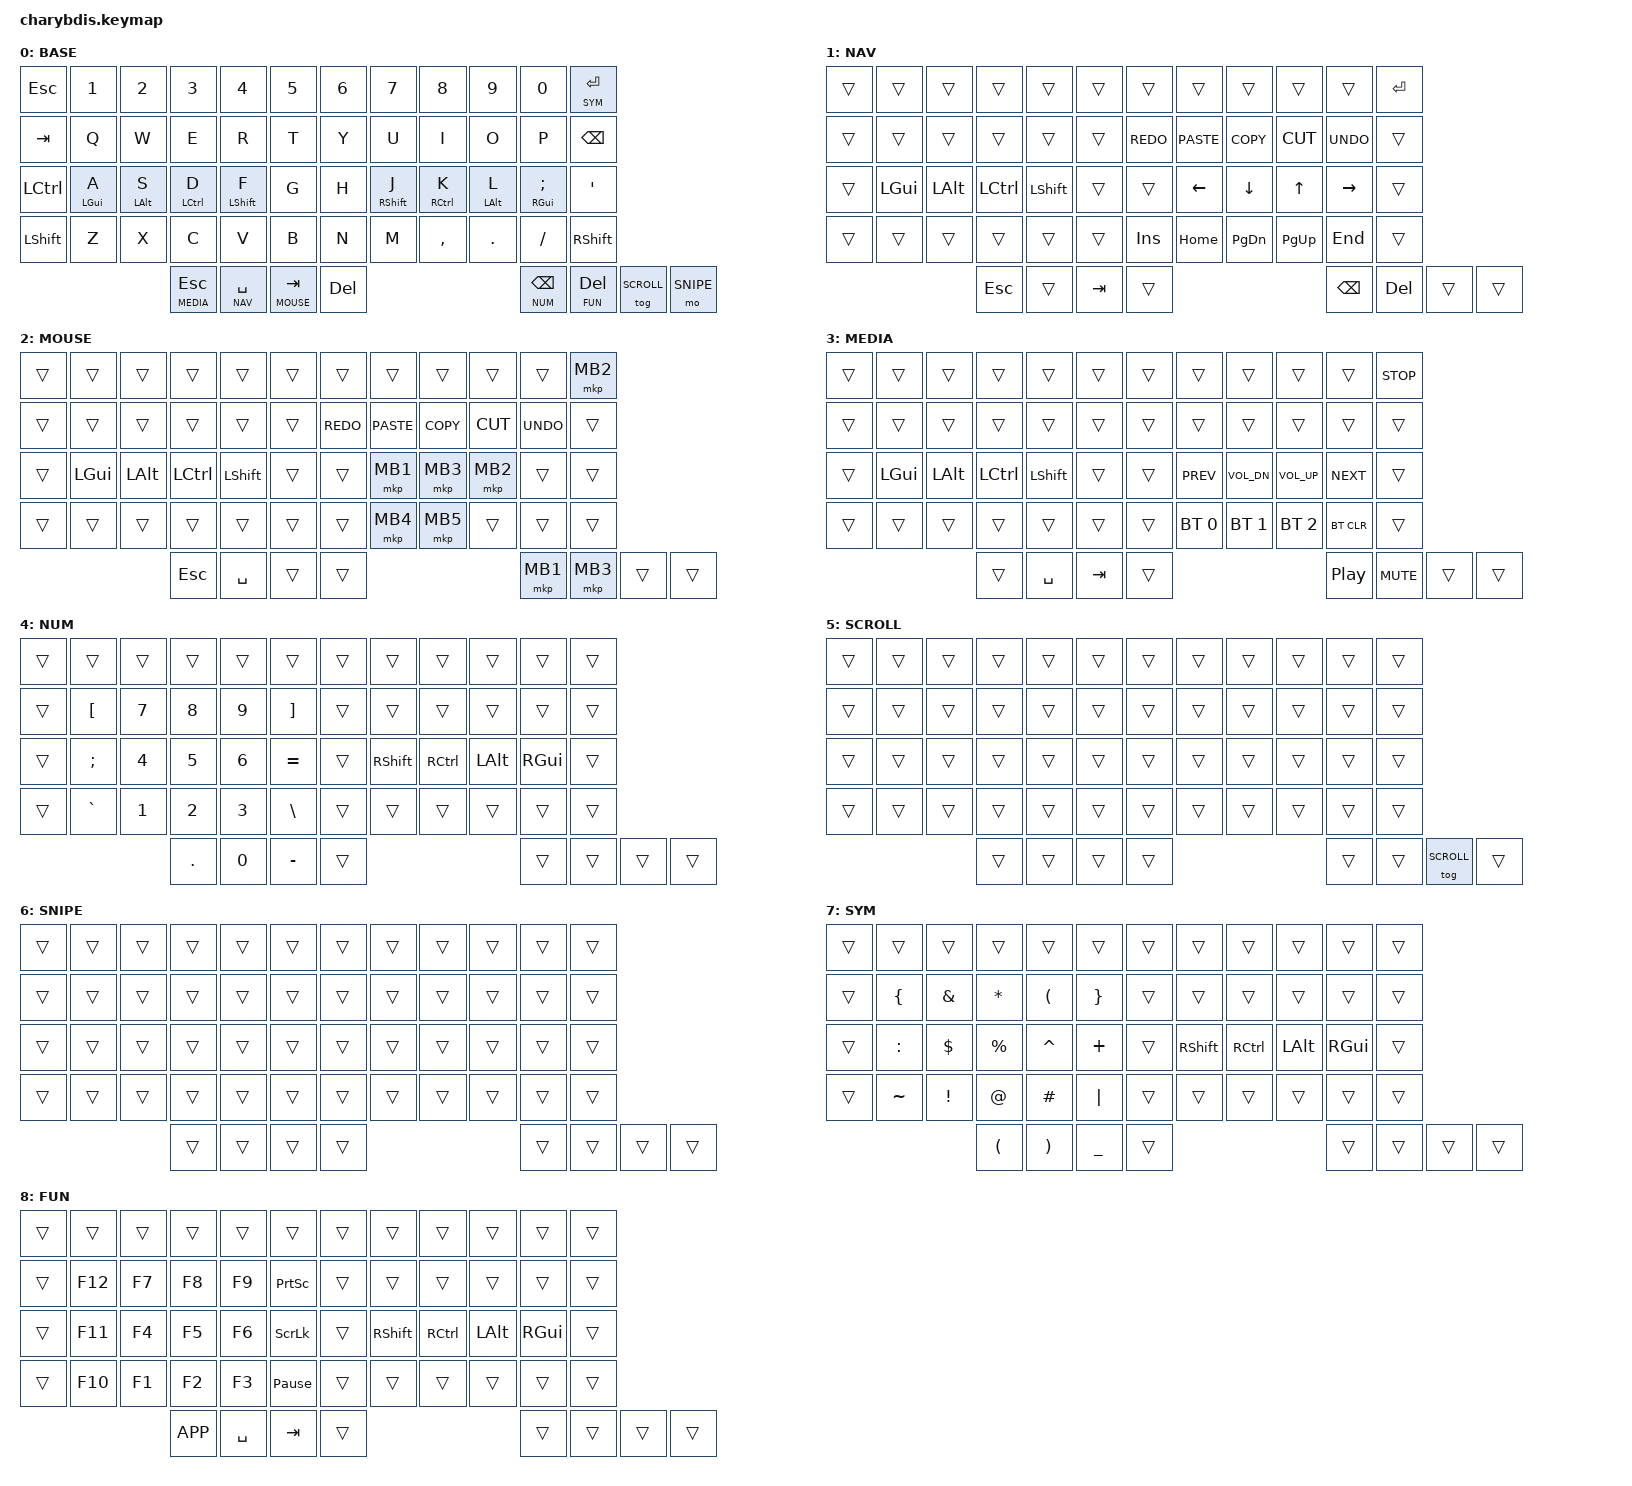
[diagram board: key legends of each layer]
// ============================================================
//  Charybdis 4×6 · Miryoku QWERTY · ZMK
//  GACS home-row mods · 9 layers · trackball scroll/snipe
//
//  KEY POSITIONS  (left rows 0-3 cols 0-5, right rows 0-3 cols 6-11)
//  Row 0:  0  1  2  3  4  5  |  6  7  8  9 10 11
//  Row 1: 12 13 14 15 16 17  | 18 19 20 21 22 23
//  Row 2: 24 25 26 27 28 29  | 30 31 32 33 34 35
//  Row 3: 36 37 38 39 40 41  | 42 43 44 45 46 47
//  L-thumb: 48 49 50          R-thumb: 51 52 53 54 55
//
//  Thumb assignments:
//   L48=Esc/MEDIA  L49=Spc/NAV   L50=Tab/MOUSE  L53=Del/FUN  L54=SCROLL
//   R51=Del        R52=Bsp/NUM   R55=SNIPE
//
//  NOTE: Ent/SYM moved from R51 to R11 (top-right main grid)
//        R51 solder joint is faulty — DEL placed there as a harmless fallback
//
//  Home row (GACS):
//   A25=LGUI  S26=LALT  D27=LCTRL  F28=LSHFT
//   J31=RSHFT K32=RCTRL L33=LALT   ;34=RGUI
// ============================================================

#include <dt-bindings/zmk/mouse.h>
#include <behaviors/mouse_keys.dtsi>
#include <behaviors.dtsi>
#include <dt-bindings/zmk/keys.h>
#include <dt-bindings/zmk/bt.h>

// Layer indices — SCROLL/SNIPE kept at 5/6 to match original firmware
#define BASE   0
#define NAV    1
#define MOUSE  2
#define MEDIA  3
#define NUM    4
#define SCROLL 5
#define SNIPE  6
#define SYM    7
#define FUN    8

/ {

    behaviors {

        // Left-hand home-row mod — only activates when right-hand keys are typed
        hml: hml {
            compatible = "zmk,behavior-hold-tap";
            #binding-cells = <2>;
            flavor = "balanced";
            tapping-term-ms = <280>;
            quick-tap-ms = <175>;
            require-prior-idle-ms = <150>;
            hold-trigger-key-positions = <
                 6  7  8  9 10 11
                18 19 20 21 22 23
                30 31 32 33 34 35
                42 43 44 45 46 47
                51 52 53 54 55
            >;
            hold-trigger-on-release;
            bindings = <&kp>, <&kp>;
        };

        // Right-hand home-row mod — only activates when left-hand keys are typed
        hmr: hmr {
            compatible = "zmk,behavior-hold-tap";
            #binding-cells = <2>;
            flavor = "balanced";
            tapping-term-ms = <280>;
            quick-tap-ms = <175>;
            require-prior-idle-ms = <150>;
            hold-trigger-key-positions = <
                 0  1  2  3  4  5
                12 13 14 15 16 17
                24 25 26 27 28 29
                36 37 38 39 40 41
                48 49 50
            >;
            hold-trigger-on-release;
            bindings = <&kp>, <&kp>;
        };

    };

    combos {
        compatible = "zmk,combos";
        // ZMK Studio unlock: top-right key (R11/ENT) + right-thumb BSP + SNIPE
        // (R51 excluded — bad solder joint)
        combo_studio_unlock {
            timeout-ms = <50>;
            key-positions = <11 52 55>;
            bindings = <&studio_unlock>;
        };
    };

    keymap {
        compatible = "zmk,keymap";

        // ── 0 · BASE ──────────────────────────────────────────────────────────
        base_layer {
            label = "BASE";
            bindings = <
// ╭──────────┬────────┬────────┬────────┬────────┬────────╮   ╭────────┬────────┬────────┬────────┬────────┬──────────╮
//  ESC        1        2        3        4        5             6        7        8        9        0        ENT/SYM
    &kp ESC    &kp N1   &kp N2   &kp N3   &kp N4   &kp N5       &kp N6   &kp N7   &kp N8   &kp N9   &kp N0   &lt SYM RET
// ├──────────┼────────┼────────┼────────┼────────┼────────┤   ├────────┼────────┼────────┼────────┼────────┼──────────┤
//  TAB        Q        W        E        R        T             Y        U        I        O        P        BSPC
    &kp TAB    &kp Q    &kp W    &kp E    &kp R    &kp T        &kp Y    &kp U    &kp I    &kp O    &kp P    &kp BSPC
// ├──────────┼────────┼────────┼────────┼────────┼────────┤   ├────────┼────────┼────────┼────────┼────────┼──────────┤
//  LCTRL    A/LGUI  S/LALT  D/LCTRL  F/LSHFT    G             H      J/RSHFT K/RCTRL  L/LALT  ;/RGUI      '
    &kp LCTRL  &hml LGUI A  &hml LALT S  &hml LCTRL D  &hml LSHFT F  &kp G    &kp H   &hmr RSHFT J  &hmr RCTRL K  &hmr LALT L  &hmr RGUI SEMI  &kp SQT
// ├──────────┼────────┼────────┼────────┼────────┼────────┤   ├────────┼────────┼────────┼────────┼────────┼──────────┤
//  LSHFT      Z        X        C        V        B             N        M        ,        .        /        RSHFT
    &kp LSHFT  &kp Z    &kp X    &kp C    &kp V    &kp B        &kp N    &kp M    &kp COMMA &kp DOT  &kp FSLH &kp RSHFT
// ╰──────────┴────────┴────────┼────────┼────────┼────────╯   ╰────────┼────────┼────────┼────────┼────────┼──────────╯
//                             ESC/MED  SPC/NAV  TAB/MSE        DEL    BSP/NUM  DEL/FUN  SCROLL   SNIPE
                               &lt MEDIA ESC  &lt NAV SPC  &lt MOUSE TAB    &kp DEL  &lt NUM BSPC  &lt FUN DEL  &tog SCROLL  &mo SNIPE
//                             ╰────────┴────────┴────────╯   ╰────────┴────────┴────────┴────────┴──────────╯
            >;
        };

        // ── 1 · NAV ───────────────────────────────────────────────────────────
        nav_layer {
            label = "NAV";
            bindings = <
    &trans     &trans     &trans     &trans     &trans     &trans       &trans     &trans     &trans     &trans     &trans     &kp RET
    &trans     &trans     &trans     &trans     &trans     &trans       &kp K_REDO &kp K_PASTE &kp K_COPY &kp K_CUT  &kp K_UNDO &trans
    &trans     &kp LGUI   &kp LALT   &kp LCTRL  &kp LSHFT  &trans       &trans     &kp LEFT   &kp DOWN   &kp UP     &kp RIGHT  &trans
    &trans     &trans     &trans     &trans     &trans     &trans       &kp INS    &kp HOME   &kp PG_DN  &kp PG_UP  &kp END    &trans
                          &kp ESC    &trans     &kp TAB                 &trans     &kp BSPC   &kp DEL    &trans     &trans
            >;
        };

        // ── 2 · MOUSE ─────────────────────────────────────────────────────────
        mouse_layer {
            label = "MOUSE";
            bindings = <
    &trans     &trans     &trans     &trans     &trans     &trans       &trans     &trans     &trans     &trans     &trans     &mkp MB2
    &trans     &trans     &trans     &trans     &trans     &trans       &kp K_REDO &kp K_PASTE &kp K_COPY &kp K_CUT  &kp K_UNDO &trans
    &trans     &kp LGUI   &kp LALT   &kp LCTRL  &kp LSHFT  &trans       &trans     &mkp MB1   &mkp MB3   &mkp MB2   &trans     &trans
    &trans     &trans     &trans     &trans     &trans     &trans       &trans     &mkp MB4   &mkp MB5   &trans     &trans     &trans
                          &kp ESC    &kp SPC    &trans                  &trans     &mkp MB1   &mkp MB3   &trans     &trans
            >;
        };

        // ── 3 · MEDIA ─────────────────────────────────────────────────────────
        media_layer {
            label = "MEDIA";
            bindings = <
    &trans     &trans     &trans     &trans     &trans     &trans       &trans        &trans          &trans          &trans          &trans          &kp C_STOP
    &trans     &trans     &trans     &trans     &trans     &trans       &trans        &trans          &trans          &trans          &trans          &trans
    &trans     &kp LGUI   &kp LALT   &kp LCTRL  &kp LSHFT  &trans       &trans        &kp C_PREV      &kp C_VOL_DN    &kp C_VOL_UP    &kp C_NEXT      &trans
    &trans     &trans     &trans     &trans     &trans     &trans       &trans        &bt BT_SEL 0    &bt BT_SEL 1    &bt BT_SEL 2    &bt BT_CLR      &trans
                          &trans     &kp SPC    &kp TAB                 &trans        &kp C_PP        &kp C_MUTE      &trans          &trans
            >;
        };

        // ── 4 · NUM ───────────────────────────────────────────────────────────
        num_layer {
            label = "NUM";
            bindings = <
    &trans     &trans     &trans     &trans     &trans     &trans       &trans     &trans     &trans     &trans     &trans     &trans
    &trans     &kp LBKT   &kp N7     &kp N8     &kp N9     &kp RBKT    &trans     &trans     &trans     &trans     &trans     &trans
    &trans     &kp SEMI   &kp N4     &kp N5     &kp N6     &kp EQUAL   &trans     &kp RSHFT  &kp RCTRL  &kp LALT   &kp RGUI   &trans
    &trans     &kp GRAVE  &kp N1     &kp N2     &kp N3     &kp BSLH    &trans     &trans     &trans     &trans     &trans     &trans
                          &kp DOT    &kp N0     &kp MINUS               &trans     &trans     &trans     &trans     &trans
            >;
        };

        // ── 5 · SCROLL ────────────────────────────────────────────────────────
        scroll_layer {
            label = "SCROLL";
            bindings = <
    &trans     &trans     &trans     &trans     &trans     &trans       &trans     &trans     &trans     &trans     &trans     &trans
    &trans     &trans     &trans     &trans     &trans     &trans       &trans     &trans     &trans     &trans     &trans     &trans
    &trans     &trans     &trans     &trans     &trans     &trans       &trans     &trans     &trans     &trans     &trans     &trans
    &trans     &trans     &trans     &trans     &trans     &trans       &trans     &trans     &trans     &trans     &trans     &trans
                          &trans     &trans     &trans                  &trans     &trans     &trans     &tog SCROLL &trans
            >;
        };

        // ── 6 · SNIPE ─────────────────────────────────────────────────────────
        snipe_layer {
            label = "SNIPE";
            bindings = <
    &trans     &trans     &trans     &trans     &trans     &trans       &trans     &trans     &trans     &trans     &trans     &trans
    &trans     &trans     &trans     &trans     &trans     &trans       &trans     &trans     &trans     &trans     &trans     &trans
    &trans     &trans     &trans     &trans     &trans     &trans       &trans     &trans     &trans     &trans     &trans     &trans
    &trans     &trans     &trans     &trans     &trans     &trans       &trans     &trans     &trans     &trans     &trans     &trans
                          &trans     &trans     &trans                  &trans     &trans     &trans     &trans     &trans
            >;
        };

        // ── 7 · SYM ───────────────────────────────────────────────────────────
        sym_layer {
            label = "SYM";
            bindings = <
    &trans     &trans     &trans     &trans     &trans     &trans       &trans     &trans     &trans     &trans     &trans     &trans
    &trans     &kp LBRC   &kp AMPS   &kp STAR   &kp LPAR   &kp RBRC    &trans     &trans     &trans     &trans     &trans     &trans
    &trans     &kp COLON  &kp DLLR   &kp PRCNT  &kp CARET  &kp PLUS    &trans     &kp RSHFT  &kp RCTRL  &kp LALT   &kp RGUI   &trans
    &trans     &kp TILDE  &kp EXCL   &kp AT     &kp HASH   &kp PIPE    &trans     &trans     &trans     &trans     &trans     &trans
                          &kp LPAR   &kp RPAR   &kp UNDER               &trans     &trans     &trans     &trans     &trans
            >;
        };

        // ── 8 · FUN ───────────────────────────────────────────────────────────
        fun_layer {
            label = "FUN";
            bindings = <
    &trans     &trans     &trans     &trans     &trans     &trans       &trans     &trans     &trans     &trans     &trans     &trans
    &trans     &kp F12    &kp F7     &kp F8     &kp F9     &kp PSCRN   &trans     &trans     &trans     &trans     &trans     &trans
    &trans     &kp F11    &kp F4     &kp F5     &kp F6     &kp SLCK    &trans     &kp RSHFT  &kp RCTRL  &kp LALT   &kp RGUI   &trans
    &trans     &kp F10    &kp F1     &kp F2     &kp F3     &kp PAUSE_BREAK  &trans &trans    &trans     &trans     &trans     &trans
                          &kp K_APP  &kp SPC    &kp TAB                 &trans     &trans     &trans     &trans     &trans
            >;
        };

    };
};
